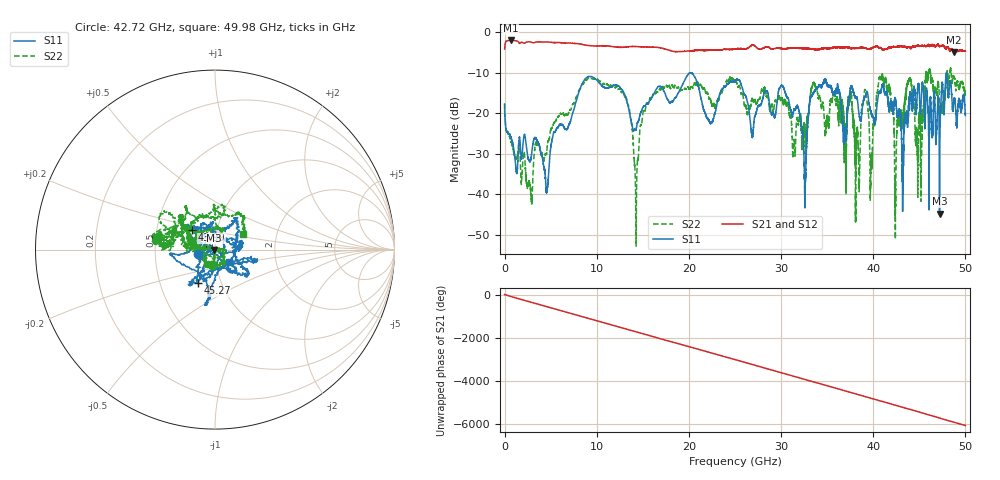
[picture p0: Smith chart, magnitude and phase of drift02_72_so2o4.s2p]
!Created with skrf (http://scikit-rf.org).
# Hz S RI R 50.0
!freq ReS11 ImS11 ReS21 ImS21 ReS12 ImS12 ReS22 ImS22
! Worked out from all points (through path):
!   10001 points, 300 kHz to 50 GHz, reference 50 ohm
!   highest |S21| = -1.99 dB at 645.3 MHz (marker M1); lowest = -4.9 dB at 48.77 GHz (marker M2)
!   group delay of S21, straight-line fit = 337 ps
!   lowest |S11| = -44.8 dB at 47.2 GHz (marker M3), VSWR 1.01, Z = 49.5 - j0.245 ohm
!   |S11| at or under -10 dB: start of sweep to 20.06 GHz; 20.20654 GHz to 20.22261 GHz (16.07 MHz wide, 0.0795 % of centre); 20.24 GHz to end of sweep (the widest 3 of 5)
!   |S22| runs from -52.7 to -8.7 dB; largest |S21 - S12| = 0.034
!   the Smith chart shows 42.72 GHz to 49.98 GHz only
!   S11 on the Smith chart (normalised r, x): 42.72 GHz: 0.83, -0.04; 43.99 GHz: 0.76, +0.17; 45.27 GHz: 0.77, -0.30; 49.98 GHz: 1.16, -0.16
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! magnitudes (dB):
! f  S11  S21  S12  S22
! 300 kHz  -17.9  -4.1  -4.0  -17.5
! 645.3 MHz  -25.7  -2.0  -2.0  -26.5
! 4.565 GHz  -39.6  -2.4  -2.4  -29.5
! 8.335 GHz  -13.0  -2.9  -2.9  -13.2
! 13.01 GHz  -15.3  -3.6  -3.7  -15.7
! 14.28 GHz  -23.8  -3.5  -3.5  -49.0
! 16.67 GHz  -13.3  -3.7  -3.7  -14.5
! 25 GHz  -12.1  -4.1  -4.1  -12.2
! 30.19 GHz  -13.3  -4.1  -4.1  -16.8
! 32.58 GHz  -38.7  -4.0  -4.0  -24.4
! 33.34 GHz  -15.8  -4.0  -4.1  -13.5
! 37.49 GHz  -14.5  -3.8  -3.8  -15.7
! 38.29 GHz  -16.8  -3.9  -3.9  -23.6
! 39 GHz  -16.6  -3.8  -3.8  -15.3
! 41.67 GHz  -18.5  -3.8  -3.9  -12.9
! 42.72 GHz  -20.3  -3.5  -3.4  -21.1
! 43.99 GHz  -15.6  -3.8  -3.8  -11.2
! 45.27 GHz  -13.5  -3.3  -3.3  -22.2
! 47.2 GHz  -44.8  -3.5  -3.4  -17.4
! 48.77 GHz  -16.8  -4.9  -4.8  -10.8
! 49.98 GHz  -19.8  -4.6  -4.6  -15.0
! 50 GHz  -20.5  -4.6  -4.6  -15.4
